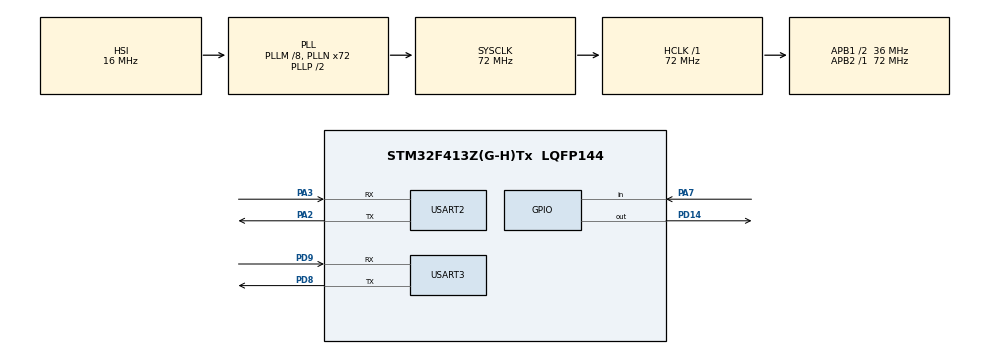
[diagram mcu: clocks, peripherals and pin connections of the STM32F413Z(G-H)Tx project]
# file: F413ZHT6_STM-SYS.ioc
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Dma.Request0=USART3_RX
Dma.USART3_RX.0.Direction=DMA_PERIPH_TO_MEMORY
Dma.USART3_RX.0.FIFOMode=DMA_FIFOMODE_DISABLE
Dma.USART3_RX.0.Instance=DMA1_Stream1
Dma.USART3_RX.0.MemDataAlignment=DMA_MDATAALIGN_BYTE
Dma.USART3_RX.0.MemInc=DMA_MINC_ENABLE
Dma.USART3_RX.0.Mode=DMA_NORMAL
Dma.USART3_RX.0.PeriphDataAlignment=DMA_PDATAALIGN_BYTE
Dma.USART3_RX.0.PeriphInc=DMA_PINC_DISABLE
Dma.USART3_RX.0.Priority=DMA_PRIORITY_LOW
FREERTOS.Queues01=DataQueue,16,uint16_t,0,Dynamic,NULL,NULL
FREERTOS.Tasks01=defaultTask,0,128,StartDefaultTask,Default,NULL,Dynamic,NULL,NULL;receiveTask,0,128,receiveTask_init,Default,NULL,Dynamic,NULL,NULL;sendTask,0,128,sendTask_init,Default,NULL,Dynamic,NULL,NULL
FREERTOS.configUSE_NEWLIB_REENTRANT=1
Mcu.Family=STM32F4
Mcu.Name=STM32F413Z(G-H)Tx
Mcu.Package=LQFP144
NVIC.DMA1_Stream1_IRQn=true\:5\:0\:false\:false\:true\:true\:false\:true\:true
NVIC.PriorityGroup=NVIC_PRIORITYGROUP_4
NVIC.TIM1_UP_TIM10_IRQn=true\:15\:0\:false\:false\:true\:false\:false\:true\:true
NVIC.TIM2_IRQn=true\:5\:0\:false\:false\:true\:true\:true\:true\:true
NVIC.TimeBase=TIM1_UP_TIM10_IRQn
NVIC.TimeBaseIP=TIM1
NVIC.USART2_IRQn=true\:5\:0\:false\:false\:true\:true\:true\:true\:true
PA13.Mode=Serial_Wire
PA13.Signal=SYS_JTMS-SWDIO
PA14.Mode=Serial_Wire
PA14.Signal=SYS_JTCK-SWCLK
PA2.Mode=Asynchronous
PA2.Signal=USART2_TX
PA3.Mode=Asynchronous
PA3.Signal=USART2_RX
PA7.Signal=GPIO_Input
PD14.Signal=GPIO_Output
PD8.Mode=Asynchronous
PD8.Signal=USART3_TX
PD9.Mode=Asynchronous
PD9.Signal=USART3_RX
PH0\ -\ OSC_IN.Mode=HSE-External-Oscillator
PH0\ -\ OSC_IN.Signal=RCC_OSC_IN
PH1\ -\ OSC_OUT.Mode=HSE-External-Oscillator
PH1\ -\ OSC_OUT.Signal=RCC_OSC_OUT
ProjectManager.HeapSize=0x200
ProjectManager.StackSize=0x400
ProjectManager.TargetToolchain=STM32CubeIDE
RCC.AHBFreq_Value=72000000
RCC.APB1CLKDivider=RCC_HCLK_DIV2
RCC.APB1Freq_Value=36000000
RCC.APB1TimFreq_Value=72000000
RCC.APB2Freq_Value=72000000
RCC.APB2TimFreq_Value=72000000
RCC.CortexFreq_Value=72000000
RCC.HCLKFreq_Value=72000000
RCC.HSE_VALUE=25000000
RCC.PLLM=8
RCC.PLLN=72
RCC.SYSCLKFreq_VALUE=72000000
RCC.SYSCLKSource=RCC_SYSCLKSOURCE_PLLCLK
RCC.USBFreq_Value=72000000
RCC.VCOOutputFreq_Value=144000000
TIM2.Period=0xffff-1
TIM2.Prescaler=72-1
USART2.VirtualMode=VM_ASYNC
USART3.VirtualMode=VM_ASYNC
VP_FREERTOS_VS_CMSIS_V1.Mode=CMSIS_V1
VP_SYS_VS_tim1.Mode=TIM1
VP_TIM2_VS_ClockSourceINT.Mode=Internal
board=custom

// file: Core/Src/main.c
/* USER CODE BEGIN Header */
/**
  ******************************************************************************
  * @file           : main.c
  * @brief          : Main program body
  ******************************************************************************
  * @attention
  *
  * Copyright (c) 2022 STMicroelectronics.
  * All rights reserved.
  *
  * This software is licensed under terms that can be found in the LICENSE file
  * in the root directory of this software component.
  * If no LICENSE file comes with this software, it is provided AS-IS.
  *
  ******************************************************************************
  */
/* USER CODE END Header */
#include "main.h"
#include "cmsis_os.h"
#include "stdio.h"

TIM_HandleTypeDef htim2;

UART_HandleTypeDef huart2;
UART_HandleTypeDef huart3;
DMA_HandleTypeDef hdma_usart3_rx;

osThreadId defaultTaskHandle;
osThreadId receiveTaskHandle;
osThreadId sendTaskHandle;
osMessageQId DataQueueHandle;
/* USER CODE BEGIN PV */
#define TRIG_PIN GPIO_PIN_14
#define TRIG_PORT GPIOD
#define ECHO_PIN GPIO_PIN_7
#define ECHO_PORT GPIOA
uint32_t pMillis;
uint32_t Value1 = 0;
uint32_t Value2 = 0;
int Distance  = 0;  // cm
int MINIMUN_DISTANCE_VALUE = 25; //CM

/* USER CODE END PV */

void SystemClock_Config(void);
static void MX_GPIO_Init(void);
static void MX_DMA_Init(void);
static void MX_USART2_UART_Init(void);
static void MX_TIM2_Init(void);
static void MX_USART3_UART_Init(void);
void StartDefaultTask(void const * argument);
void receiveTask_init(void const * argument);
void sendTask_init(void const * argument);

/* USER CODE BEGIN PFP */
void taskManager_init(void const * argument);
void receiveTask_init(void const * argument);
void task1_init(void const * argument);
void task2_init(void const * argument);
/* USER CODE END PFP */

/* USER CODE BEGIN 0 */

uint8_t buffer[10];

/* USER CODE END 0 */

int main(void)
{

  /* MCU Configuration--------------------------------------------------------*/

  /* Reset of all peripherals, Initializes the Flash interface and the Systick. */
  HAL_Init();

  /* Configure the system clock */
  SystemClock_Config();

  /* Initialize all configured peripherals */
  MX_GPIO_Init();
  MX_DMA_Init();
  MX_USART2_UART_Init();
  MX_TIM2_Init();
  MX_USART3_UART_Init();
  /* USER CODE BEGIN 2 */

  HAL_TIM_Base_Start(&htim2);
  HAL_GPIO_WritePin(TRIG_PORT, TRIG_PIN, GPIO_PIN_RESET);  // pull the TRIG pin low

  /* USER CODE END 2 */

  /* Create the queue(s) */
  /* definition and creation of DataQueue */
  osMessageQDef(DataQueue, 16, uint16_t);
  DataQueueHandle = osMessageCreate(osMessageQ(DataQueue), NULL);

  /* Create the thread(s) */
  /* definition and creation of defaultTask */
  osThreadDef(defaultTask, StartDefaultTask, osPriorityNormal, 0, 128);
  defaultTaskHandle = osThreadCreate(osThread(defaultTask), NULL);

  /* definition and creation of receiveTask */
  osThreadDef(receiveTask, receiveTask_init, osPriorityNormal, 0, 128);
  receiveTaskHandle = osThreadCreate(osThread(receiveTask), NULL);

  /* definition and creation of sendTask */
  osThreadDef(sendTask, sendTask_init, osPriorityNormal, 0, 128);
  sendTaskHandle = osThreadCreate(osThread(sendTask), NULL);

  /* USER CODE BEGIN RTOS_THREADS */
  /* add threads, ... */

  //DEFINITION AND CREATION OF THREAD !
//	osThreadDef(receiveTask, receiveTask_init, osPriorityNormal, 0, 128);
//	receiveTaskHandle = osThreadCreate(osThread(receiveTask), NULL);

//	osThreadDef(task1, task1_init, osPriorityBelowNormal, 0, 128);
//	Task1Handle = osThreadCreate(osThread(task2), NULL);
////
////  //DEFINITION AND CREATION OF THREAD 2
//	osThreadDef(task2, task2_init, osPriorityBelowNormal, 0, 128);
//	Task2Handle = osThreadCreate(osThread(task2), NULL);

  /* USER CODE END RTOS_THREADS */

  /* Start scheduler */
  osKernelStart();

  /* We should never get here as control is now taken by the scheduler */
  /* Infinite loop */
  while (1)
  {

  }
}

void SystemClock_Config(void)
{
  RCC_OscInitTypeDef RCC_OscInitStruct = {0};
  RCC_ClkInitTypeDef RCC_ClkInitStruct = {0};

  /** Configure the main internal regulator output voltage
  */
  __HAL_RCC_PWR_CLK_ENABLE();
  __HAL_PWR_VOLTAGESCALING_CONFIG(PWR_REGULATOR_VOLTAGE_SCALE1);

  /** Initializes the RCC Oscillators according to the specified parameters
  * in the RCC_OscInitTypeDef structure.
  */
  RCC_OscInitStruct.OscillatorType = RCC_OSCILLATORTYPE_HSI;
  RCC_OscInitStruct.HSIState = RCC_HSI_ON;
  RCC_OscInitStruct.HSICalibrationValue = RCC_HSICALIBRATION_DEFAULT;
  RCC_OscInitStruct.PLL.PLLState = RCC_PLL_ON;
  RCC_OscInitStruct.PLL.PLLSource = RCC_PLLSOURCE_HSI;
  RCC_OscInitStruct.PLL.PLLM = 8;
  RCC_OscInitStruct.PLL.PLLN = 72;
  RCC_OscInitStruct.PLL.PLLP = RCC_PLLP_DIV2;
  RCC_OscInitStruct.PLL.PLLQ = 2;
  RCC_OscInitStruct.PLL.PLLR = 2;
  if (HAL_RCC_OscConfig(&RCC_OscInitStruct) != HAL_OK)
  {
    Error_Handler();
  }

  /** Initializes the CPU, AHB and APB buses clocks
  */
  RCC_ClkInitStruct.ClockType = RCC_CLOCKTYPE_HCLK|RCC_CLOCKTYPE_SYSCLK
                              |RCC_CLOCKTYPE_PCLK1|RCC_CLOCKTYPE_PCLK2;
  RCC_ClkInitStruct.SYSCLKSource = RCC_SYSCLKSOURCE_PLLCLK;
  RCC_ClkInitStruct.AHBCLKDivider = RCC_SYSCLK_DIV1;
  RCC_ClkInitStruct.APB1CLKDivider = RCC_HCLK_DIV2;
  RCC_ClkInitStruct.APB2CLKDivider = RCC_HCLK_DIV1;

  if (HAL_RCC_ClockConfig(&RCC_ClkInitStruct, FLASH_LATENCY_2) != HAL_OK)
  {
    Error_Handler();
  }
}

static void MX_TIM2_Init(void)
{

  TIM_ClockConfigTypeDef sClockSourceConfig = {0};
  TIM_MasterConfigTypeDef sMasterConfig = {0};

  htim2.Instance = TIM2;
  htim2.Init.Prescaler = 72-1;
  htim2.Init.CounterMode = TIM_COUNTERMODE_UP;
  htim2.Init.Period = 0xffff-1;
  htim2.Init.ClockDivision = TIM_CLOCKDIVISION_DIV1;
  htim2.Init.AutoReloadPreload = TIM_AUTORELOAD_PRELOAD_DISABLE;
  if (HAL_TIM_Base_Init(&htim2) != HAL_OK)
  {
    Error_Handler();
  }
  sClockSourceConfig.ClockSource = TIM_CLOCKSOURCE_INTERNAL;
  if (HAL_TIM_ConfigClockSource(&htim2, &sClockSourceConfig) != HAL_OK)
  {
    Error_Handler();
  }
  sMasterConfig.MasterOutputTrigger = TIM_TRGO_RESET;
  sMasterConfig.MasterSlaveMode = TIM_MASTERSLAVEMODE_DISABLE;
  if (HAL_TIMEx_MasterConfigSynchronization(&htim2, &sMasterConfig) != HAL_OK)
  {
    Error_Handler();
  }

}

static void MX_USART2_UART_Init(void)
{

  huart2.Instance = USART2;
  huart2.Init.BaudRate = 115200;
  huart2.Init.WordLength = UART_WORDLENGTH_8B;
  huart2.Init.StopBits = UART_STOPBITS_1;
  huart2.Init.Parity = UART_PARITY_NONE;
  huart2.Init.Mode = UART_MODE_TX_RX;
  huart2.Init.HwFlowCtl = UART_HWCONTROL_NONE;
  huart2.Init.OverSampling = UART_OVERSAMPLING_16;
  if (HAL_UART_Init(&huart2) != HAL_OK)
  {
    Error_Handler();
  }

}

static void MX_USART3_UART_Init(void)
{

  huart3.Instance = USART3;
  huart3.Init.BaudRate = 115200;
  huart3.Init.WordLength = UART_WORDLENGTH_8B;
  huart3.Init.StopBits = UART_STOPBITS_1;
  huart3.Init.Parity = UART_PARITY_NONE;
  huart3.Init.Mode = UART_MODE_TX_RX;
  huart3.Init.HwFlowCtl = UART_HWCONTROL_NONE;
  huart3.Init.OverSampling = UART_OVERSAMPLING_16;
  if (HAL_UART_Init(&huart3) != HAL_OK)
  {
    Error_Handler();
  }

}

static void MX_DMA_Init(void)
{

  /* DMA controller clock enable */
  __HAL_RCC_DMA1_CLK_ENABLE();

  /* DMA interrupt init */
  /* DMA1_Stream1_IRQn interrupt configuration */
  HAL_NVIC_SetPriority(DMA1_Stream1_IRQn, 5, 0);
  HAL_NVIC_EnableIRQ(DMA1_Stream1_IRQn);

}

static void MX_GPIO_Init(void)
{
  GPIO_InitTypeDef GPIO_InitStruct = {0};

  /* GPIO Ports Clock Enable */
  __HAL_RCC_GPIOH_CLK_ENABLE();
  __HAL_RCC_GPIOA_CLK_ENABLE();
  __HAL_RCC_GPIOD_CLK_ENABLE();

  /*Configure GPIO pin Output Level */
  HAL_GPIO_WritePin(GPIOD, GPIO_PIN_14, GPIO_PIN_RESET);

  /*Configure GPIO pin : PA7 */
  GPIO_InitStruct.Pin = GPIO_PIN_7;
  GPIO_InitStruct.Mode = GPIO_MODE_INPUT;
  GPIO_InitStruct.Pull = GPIO_NOPULL;
  HAL_GPIO_Init(GPIOA, &GPIO_InitStruct);

  /*Configure GPIO pin : PD14 */
  GPIO_InitStruct.Pin = GPIO_PIN_14;
  GPIO_InitStruct.Mode = GPIO_MODE_OUTPUT_PP;
  GPIO_InitStruct.Pull = GPIO_NOPULL;
  GPIO_InitStruct.Speed = GPIO_SPEED_FREQ_LOW;
  HAL_GPIO_Init(GPIOD, &GPIO_InitStruct);

}

void StartDefaultTask(void const * argument)
{
  /* USER CODE BEGIN 5 */
  /* Infinite loop */
	BaseType_t xStatus;

  for(;;)
  {
	  //distance formula for sensor JSN-04T
		HAL_GPIO_WritePin(TRIG_PORT, TRIG_PIN, GPIO_PIN_SET);  // pull the TRIG pin HIGH
		__HAL_TIM_SET_COUNTER(&htim2, 0);
		while (__HAL_TIM_GET_COUNTER (&htim2) < 20);  // wait for 20 us
		HAL_GPIO_WritePin(TRIG_PORT, TRIG_PIN, GPIO_PIN_RESET);  // pull the TRIG pin low

		pMillis = HAL_GetTick(); // used this to avoid infinite while loop  (for timeout)
		// wait for the echo pin to go high
		while (!(HAL_GPIO_ReadPin (ECHO_PORT, ECHO_PIN)) && pMillis + 10 >  HAL_GetTick());
		Value1 = __HAL_TIM_GET_COUNTER (&htim2);

		pMillis = HAL_GetTick(); // used this to avoid infinite while loop (for timeout)
		// wait for the echo pin to go low
		while ((HAL_GPIO_ReadPin (ECHO_PORT, ECHO_PIN)) && pMillis + 50 > HAL_GetTick());
		Value2 = __HAL_TIM_GET_COUNTER (&htim2);

		Distance = (Value2-Value1)* 0.034/2;
		HAL_Delay(50);

		xStatus = xQueueSendToBack(DataQueueHandle, &Distance, 0);

		taskYIELD();

  }
  /* USER CODE END 5 */
}

void receiveTask_init(void const * argument)
{
  /* USER CODE BEGIN receiveTask_init */
  /* Infinite loop */

	uint32_t value = 0;
	BaseType_t xStatus;
	const TickType_t xTicksToWait = pdMS_TO_TICKS(100);

  for(;;)
  {
	xStatus = xQueueReceive(DataQueueHandle, &value, xTicksToWait);
	sprintf(buffer, "%i cm\r\n", value);
	HAL_UART_Transmit(&huart3, buffer, sizeof(buffer), 100);
    taskYIELD();
  }
  /* USER CODE END receiveTask_init *
}

void sendTask_init(void const * argument)
{
  for(;;)
  {
    osDelay(1);
  }
}

void HAL_TIM_PeriodElapsedCallback(TIM_HandleTypeDef *htim)
{
  if (htim->Instance == TIM1) {
    HAL_IncTick();
  }
}

void Error_Handler(void)
{
  __disable_irq();
  while (1)
  {
  }
}
